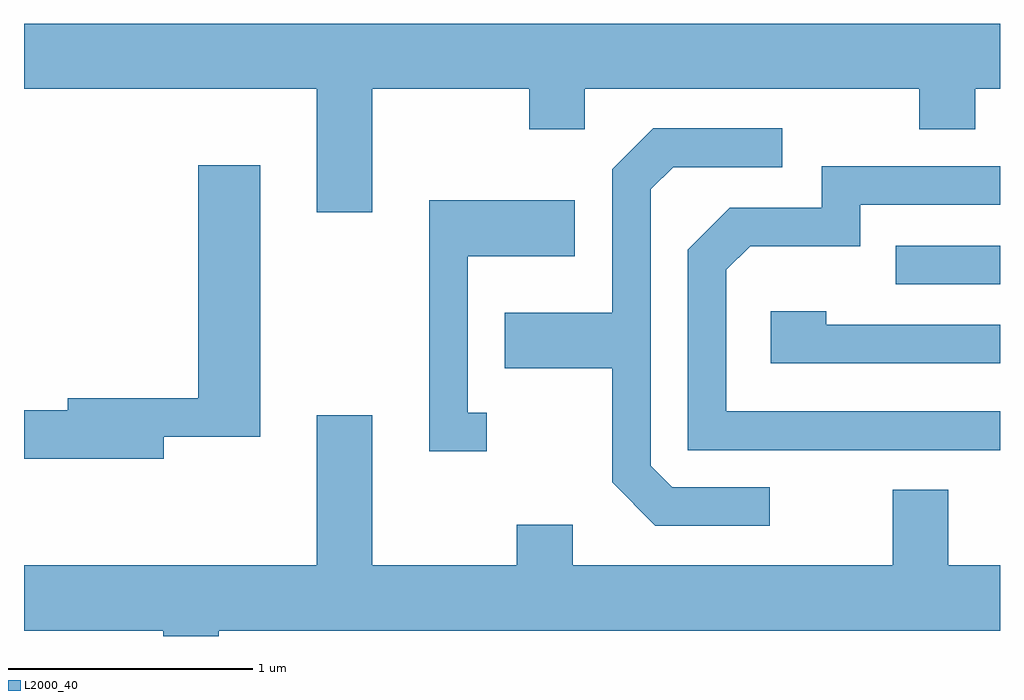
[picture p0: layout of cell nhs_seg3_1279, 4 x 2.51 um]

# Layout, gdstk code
import gdstk
lib = gdstk.Library(unit=1e-6, precision=1e-09)
def R(c, l, rs):  # rectangles x0, y0, x1, y1
    for r in rs: c.add(gdstk.rectangle(r[:2], r[2:], *l))
def P(c, l, *ps):  # polygons
    for p in ps: c.add(gdstk.Polygon(p, *l))
L2000_40 = (2000, 40)

nhs_seg3_1279 = lib.new_cell('nhs_seg3_1279')
R(nhs_seg3_1279, L2000_40, [(225.183,1227.336,225.611,1227.494)])
P(nhs_seg3_1279, L2000_40, [(223.039,1228.136),(223.681,1228.136),(223.681,1227.971),(223.909,1227.971),(223.909,1228.136),(225.281,1228.136),(225.281,1227.971),(225.509,1227.971),(225.509,1228.136),(225.611,1228.136),(225.611,1228.404),(221.611,1228.404),(221.611,1228.136),(222.811,1228.136),(222.811,1227.631),(223.039,1227.631)],
  [(224.668,1226.504),(224.267,1226.504),(224.179,1226.592),(224.179,1227.724),(224.272,1227.816),(224.718,1227.816),(224.718,1227.974),(224.189,1227.974),(224.021,1227.807),(224.021,1227.219),(223.581,1227.219),(223.581,1226.991),(224.021,1226.991),(224.021,1226.524),(224.199,1226.346),(224.668,1226.346)],
  [(222.184,1226.711),(222.579,1226.711),(222.579,1227.824),(222.326,1227.824),(222.326,1226.869),(221.791,1226.869),(221.791,1226.819),(221.611,1226.819),(221.611,1226.621),(222.184,1226.621)],
  [(225.611,1226.814),(224.489,1226.814),(224.489,1227.394),(224.587,1227.491),(225.039,1227.491),(225.039,1227.661),(225.611,1227.661),(225.611,1227.819),(224.881,1227.819),(224.881,1227.649),(224.504,1227.649),(224.331,1227.477),(224.331,1226.656),(225.611,1226.656)],
  [(223.508,1226.809),(223.429,1226.809),(223.429,1227.451),(223.869,1227.451),(223.869,1227.679),(223.271,1227.679),(223.271,1226.651),(223.508,1226.651)],
  [(225.611,1227.169),(224.899,1227.169),(224.899,1227.224),(224.671,1227.224),(224.671,1227.011),(225.611,1227.011)],
  [(222.409,1225.916),(225.611,1225.916),(225.611,1226.184),(225.399,1226.184),(225.399,1226.494),(225.171,1226.494),(225.171,1226.184),(223.859,1226.184),(223.859,1226.349),(223.631,1226.349),(223.631,1226.184),(223.039,1226.184),(223.039,1226.799),(222.811,1226.799),(222.811,1226.184),(221.611,1226.184),(221.611,1225.916),(222.181,1225.916),(222.181,1225.892),(222.409,1225.892)])

lib.write_gds('nhs_seg3_1279.gds')
